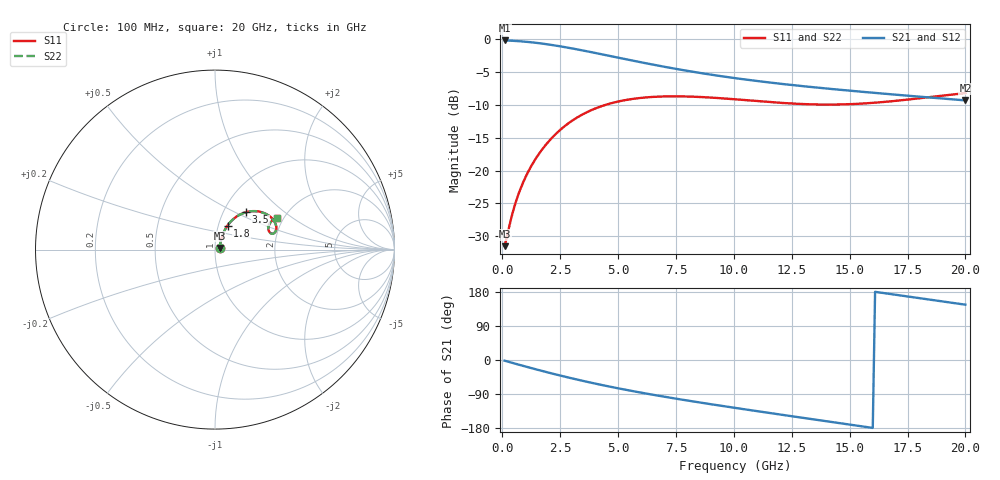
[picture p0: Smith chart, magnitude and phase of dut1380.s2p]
! Touchstone file exported from HFSS 2024.1.0
!  File:  C:/UserFiles/LocalFiles/RDL_TSV_Batchsim/temp_RDL_TSV_1380_1780401183.aedt
!  Generated:  08:08:47 PM Jun  2, 2026
!  Design:  RDL_TSV
!  Project:  temp_RDL_TSV_1380_1780401183
!  Setup:  Setup1
!  Solution:  Sweep
! Variables:
!  dtsv = 5.64um
!  hbump = 3um
!  htsv = 54.67um
!  ldown = 275.56um
!  lrdl = 622.38um
!  p = 40
!  p1 = 54.54um
!  rhole = 10um
!  subl = 3316.2um
!  t = 450um
!  tdown = 4.17um
!  trdl = 2.18um
!  viad = 10um
!  wdown = 26.88um
!  wrdl = 18.88um
!  xbump = 18um
# GHz S MA R 50.000000
! Terminal data exported
! Port[1] = TM1_1_T1
! Port[2] = TM1_4_T1
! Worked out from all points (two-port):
!   200 points, 100 MHz to 20 GHz, reference 50 ohm
!   highest |S21| = -0.22 dB at 100 MHz (marker M1); lowest = -9.3 dB at 20 GHz (marker M2)
!   |S21| within 3 dB of the highest: start of sweep to 5.541 GHz
!   lowest |S11| = -31.5 dB at 100 MHz (marker M3), VSWR 1.05, Z = 52.6 + j0.932 ohm
!   |S11| at or under -10 dB: start of sweep to 4.47 GHz
!   |S22| runs from -31.5 to -8.2 dB; largest |S21 - S12| = 1e-14
!   S11 on the Smith chart (normalised r, x): 100 MHz: 1.05, +0.02; 1.8 GHz: 1.11, +0.30; 3.5 GHz: 1.27, +0.57; 20 GHz: 1.85, +0.77
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0.1  0.02665 19.4  0.9748 -1.8  0.9748 -1.8  0.02665 19.4
! Gamma 0 0 0 0
! Port Impedance 50 0 50 0
0.5  0.05163 53.5  0.9681 -8.7  0.9681 -8.7  0.05163 53.4
0.8  0.07373 60.1  0.9602 -13.8  0.9602 -13.8  0.07372 60.1
1  0.08887 62.2  0.9538 -17.2  0.9538 -17.2  0.08887 62.1
1.3  0.112 63.3  0.9424 -22.1  0.9424 -22.1  0.112 63.3
1.8  0.151 62.5  0.9191 -30.2  0.9191 -30.2  0.1509 62.4
2.2  0.1816 60.5  0.8975 -36.4  0.8975 -36.4  0.1815 60.4
2.6  0.211 57.8  0.8738 -42.5  0.8738 -42.5  0.2108 57.7
3  0.2384 54.7  0.8489 -48.4  0.8489 -48.4  0.2382 54.6
3.5  0.2692 50.6  0.8168 -55.4  0.8168 -55.4  0.269 50.5
4.2  0.3049 44.7  0.7716 -64.7  0.7716 -64.7  0.3046 44.6
4.9  0.3316 39.1  0.7278 -73.5  0.7278 -73.5  0.3312 39.1
5.8  0.3537 32.7  0.6757 -84.0  0.6757 -84.0  0.3532 32.6
6.8  0.3651 26.8  0.6244 -94.8  0.6244 -94.8  0.3645 26.7
8.4  0.3635 19.9  0.5572 -110.9  0.5572 -110.9  0.3628 19.8
10.1  0.3476 16.1  0.5029 -126.8  0.5029 -126.8  0.3469 16.0
11.7  0.3303 15.6  0.4636 -141.2  0.4636 -141.2  0.3295 15.6
13.4  0.3186 17.9  0.4306 -156.3  0.4306 -156.3  0.3179 17.9
15  0.3197 21.5  0.4049 -170.4  0.4049 -170.4  0.3191 21.5
16.7  0.335 25.1  0.3812 174.6  0.3812 174.6  0.3345 25.1
18.4  0.3607 27.0  0.3598 159.8  0.3598 159.8  0.3602 27.0
20  0.3882 27.1  0.3416 146.0  0.3416 146.0  0.3878 27.1
